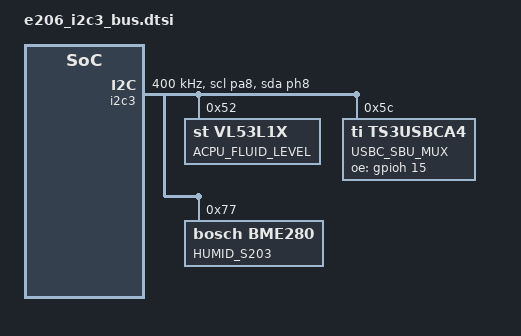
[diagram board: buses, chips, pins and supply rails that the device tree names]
/*
 * Copyright (c) 2023 Acme CPU
 *
 * E206 I2C3 bus has
 *		- Capacitive touch
 *		- Lidar sensor
 *		- T3USBCA410 (SBU MUX)
 *		- S203 (BME280 humidity sensor)
 *		- APDS-9930
 */

 &i2c3 {
	pinctrl-0 = <&i2c3_scl_pa8 &i2c3_sda_ph8>;
	pinctrl-names = "default";
	status = "okay";
	clock-frequency = <I2C_BITRATE_FAST>;

/*
  	ctp: xxxx@38 {
		compatible = "abc,xxxx";
		reg = <0x38>;
		reset-gpios = <&gpioc 12 (GPIO_ACTIVE_HIGH)>;
		int-gpios = <&gpiod 2 (GPIO_ACTIVE_LOW | GPIO_PULL_UP)>;
  	};
*/


  	lidar: vl53l4cd@52 {
		compatible = "st,vl53l1x";
		label = "ACPU_FLUID_LEVEL";
		reg = <0x52>;
  	};


 	usbc_sbu_mux: ts3usbca4@5c {
    	compatible = "ti,ts3usbca4";
    	reg = <0x5c>;
    	label = "USBC_SBU_MUX";
    	oe-gpios = <&gpioh 15 (GPIO_ACTIVE_HIGH)>;
	};
	
	bme280@77 {
		compatible = "bosch,bme280";
		reg = <0x77>;
		label = "HUMID_S203";
		status = "okay";
	};

/*
	apds9930@39 {
		compatible = "avago,apds9930";
		reg = <0x39>;
		int-gpios = <&gpioi 10 (GPIO_ACTIVE_LOW | GPIO_PULL_UP)>;
	};
*/
};
